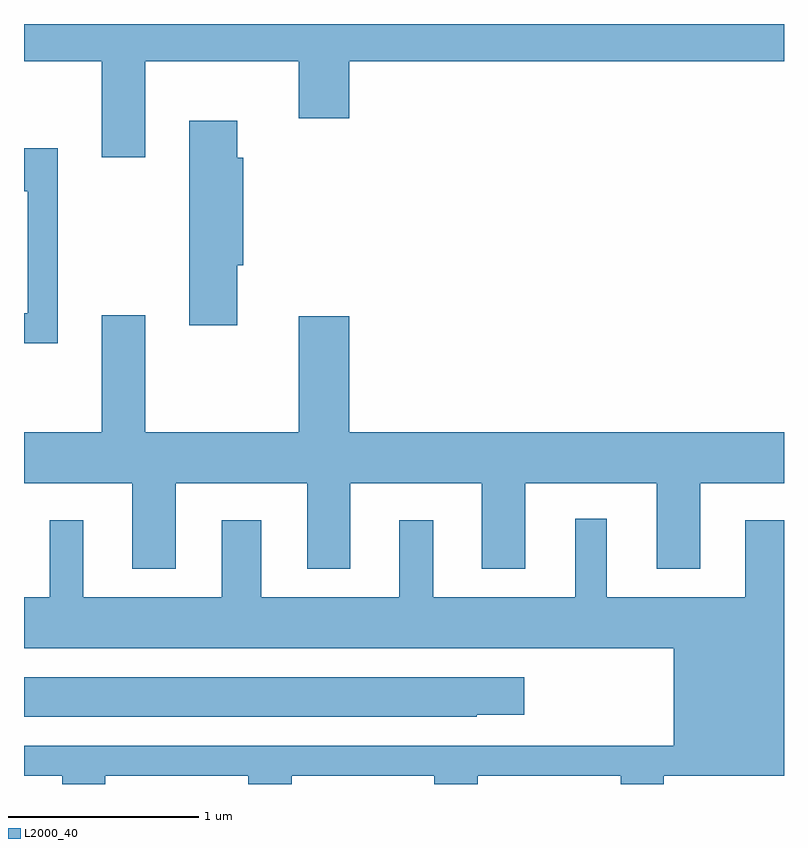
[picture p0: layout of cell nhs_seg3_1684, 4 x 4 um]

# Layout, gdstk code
import gdstk
lib = gdstk.Library(unit=1e-6, precision=1e-09)
def P(c, l, *ps):  # polygons
    for p in ps: c.add(gdstk.Polygon(p, *l))
L2000_40 = (2000, 40)

nhs_seg3_1684 = lib.new_cell('nhs_seg3_1684')
P(nhs_seg3_1684, L2000_40, [(234.249,1223.696),(235.056,1223.696),(235.056,1223.396),(235.324,1223.396),(235.324,1223.696),(237.611,1223.696),(237.611,1223.892),(233.611,1223.892),(233.611,1223.696),(234.021,1223.696),(234.021,1223.191),(234.249,1223.191)],
  [(234.734,1222.621),(234.764,1222.621),(234.764,1223.189),(234.734,1223.189),(234.734,1223.384),(234.481,1223.384),(234.481,1222.306),(234.734,1222.306)],
  [(233.789,1223.239),(233.611,1223.239),(233.611,1223.011),(233.631,1223.011),(233.631,1222.369),(233.611,1222.369),(233.611,1222.211),(233.789,1222.211)],
  [(234.409,1221.476),(235.101,1221.476),(235.101,1221.026),(235.329,1221.026),(235.329,1221.476),(236.021,1221.476),(236.021,1221.026),(236.249,1221.026),(236.249,1221.476),(236.941,1221.476),(236.941,1221.026),(237.169,1221.026),(237.169,1221.476),(237.611,1221.476),(237.611,1221.744),(235.324,1221.744),(235.324,1222.354),(235.056,1222.354),(235.056,1221.744),(234.249,1221.744),(234.249,1222.359),(234.021,1222.359),(234.021,1221.744),(233.611,1221.744),(233.611,1221.476),(234.181,1221.476),(234.181,1221.026),(234.409,1221.026)],
  [(234.039,1219.936),(234.791,1219.936),(234.791,1219.892),(235.019,1219.892),(235.019,1219.936),(235.771,1219.936),(235.771,1219.892),(235.999,1219.892),(235.999,1219.936),(236.751,1219.936),(236.751,1219.892),(236.979,1219.892),(236.979,1219.936),(237.611,1219.936),(237.611,1221.279),(237.406,1221.279),(237.406,1220.874),(236.679,1220.874),(236.679,1221.288),(236.511,1221.288),(236.511,1220.874),(235.764,1220.874),(235.764,1221.279),(235.586,1221.279),(235.586,1220.874),(234.859,1220.874),(234.859,1221.279),(234.651,1221.279),(234.651,1220.874),(233.924,1220.874),(233.924,1221.279),(233.746,1221.279),(233.746,1220.874),(233.611,1220.874),(233.611,1220.606),(237.031,1220.606),(237.031,1220.094),(233.611,1220.094),(233.611,1219.936),(233.811,1219.936),(233.811,1219.892),(234.039,1219.892)],
  [(235.995,1220.256),(236.244,1220.256),(236.244,1220.454),(233.611,1220.454),(233.611,1220.246),(235.995,1220.246)])

lib.write_gds('nhs_seg3_1684.gds')
